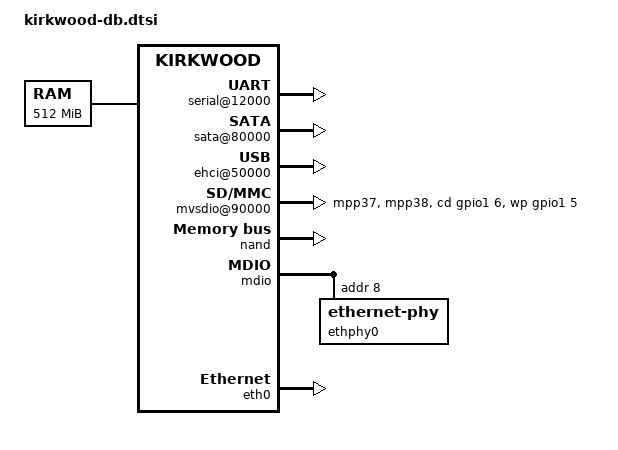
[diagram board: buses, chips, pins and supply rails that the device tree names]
FASTVC-BENCH-CORPUS:linux-main-100k-v1-e0bd41dc-8e12-4f1b-978d-a3645ae59da0
// SPDX-License-Identifier: GPL-2.0
/*
 * Marvell DB-{88F6281,88F6282}-BP Development Board Setup
 *
 * Saeed Bishara <saeed@marvell.com>
 * Thomas Petazzoni <thomas.petazzoni@free-electrons.com>
 *
/* bench 11922.1.0 1081833a3950 */
/* bench 11922.1.1 05703fd30b8b */
/* bench 11922.1.2 7d788447f524 */
/* bench 11922.1.3 70aaf5c322cc */
/* bench 11922.1.4 1f9ad4dc14de */
/* bench 11922.1.5 e9ce61540a36 */

#include "kirkwood.dtsi"

/ {
	memory {
		device_type = "memory";
		reg = <0x00000000 0x20000000>; /* 512 MB */
	};

	chosen {
		bootargs = "console=ttyS0,115200n8 earlyprintk";
		stdout-path = &uart0;
	};

	ocp@f1000000 {
		pin-controller@10000 {
			pmx_sdio_gpios: pmx-sdio-gpios {
				marvell,pins = "mpp37", "mpp38";
				marvell,function = "gpio";
			};
		};

		serial@12000 {
			status = "okay";
		};

		sata@80000 {
			nr-ports = <2>;
			status = "okay";
		};

		ehci@50000 {
			status = "okay";
		};

		mvsdio@90000 {
			pinctrl-0 = <&pmx_sdio_gpios>;
			pinctrl-names = "default";
			wp-gpios = <&gpio1 5 GPIO_ACTIVE_HIGH>;
			cd-gpios = <&gpio1 6 GPIO_ACTIVE_HIGH>;
			status = "okay";
		};
	};
};

&nand {
	chip-delay = <25>;
	status = "okay";

	partition@0 {
		label = "uboot";
		reg = <0x0 0x100000>;
	};

	partition@100000 {
		label = "uImage";
		reg = <0x100000 0x400000>;
	};

	partition@500000 {
		label = "root";
		reg = <0x500000 0x1fb00000>;
	};
};

&mdio {
	status = "okay";

	ethphy0: ethernet-phy@8 {
		reg = <8>;
	};
};

&eth0 {
	status = "okay";
	ethernet0-port@0 {
		phy-handle = <&ethphy0>;
	};
};
